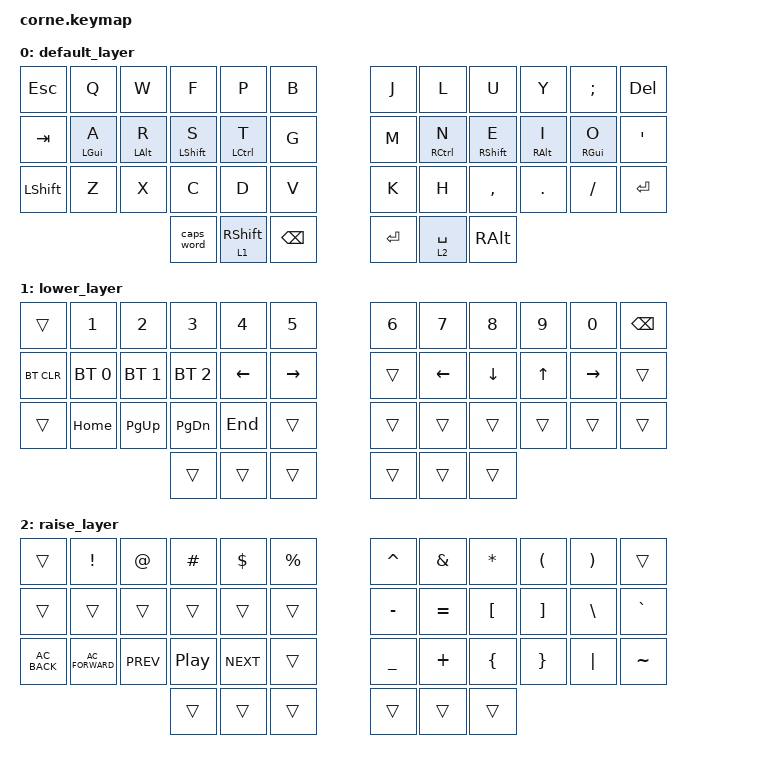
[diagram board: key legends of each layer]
/*
 * Copyright (c) 2020 The ZMK Contributors
 *
 * SPDX-License-Identifier: MIT
 */

#include <behaviors.dtsi>
#include <dt-bindings/zmk/keys.h>
#include <dt-bindings/zmk/bt.h>
#include <dt-bindings/zmk/behaviors.h>

// homerow tab mod from https://zmk.dev/docs/keymaps/behaviors/hold-tap?examples=autoshift#custom-hold-tap-examples
// trigger key positions generated by chat j'ai pété, not sure if this is correct

// I'm not convinced that this balanced option is really needed
        // hms: home_row_mod_left_shift {
        //     compatible = "zmk,behavior-hold-tap";
        //     #binding-cells = <2>;
        //     flavor = "balanced";
        //     require-prior-idle-ms = <140>;
        //     tapping-term-ms = <200>;
        //     quick-tap-ms = <150>;
        //     bindings = <&kp>, <&kp>;
        //     hold-trigger-key-positions = < 6 7 8 9 10 11 18 19 20 21 22 23 30 31 32 33 34 35 39 40 41>; // List of keys on the right side of the keyboard
        //     hold-trigger-on-release;
        // };
/ {
    behaviors {
        hml: home_row_mod_left {
            compatible = "zmk,behavior-hold-tap";
            #binding-cells = <2>;
            flavor = "tap-preferred";
            require-prior-idle-ms = <140>;
            tapping-term-ms = <200>;
            quick-tap-ms = <150>;
            bindings = <&kp>, <&kp>;
            hold-trigger-key-positions = < 6 7 8 9 10 11 18 19 20 21 22 23 30 31 32 33 34 35 39 40 41>; // List of keys on the right side of the keyboard
            hold-trigger-on-release;
        };
        hmr: home_row_mod_right {
            compatible = "zmk,behavior-hold-tap";
            #binding-cells = <2>;
            flavor = "tap-preferred";
            require-prior-idle-ms = <140>;
            tapping-term-ms = <200>;
            quick-tap-ms = <150>;
            bindings = <&kp>, <&kp>;
            hold-trigger-key-positions = < 0 1 2 3 4 5 12 13 14 15 16 17 24 25 26 27 28 29 36 37 38 >; // List of keys on the left side of the keyboard
            hold-trigger-on-release;
        };
	lt: layer_tap {
            compatible = "zmk,behavior-hold-tap";
            #binding-cells = <2>;
            flavor = "tap-preferred";
            tapping-term-ms = <150>;
            bindings = <&mo>, <&kp>;
            display-name = "Layer-Tap";
        };
	lt_sk: layer_tap_sticky_key {
            compatible = "zmk,behavior-hold-tap";
            #binding-cells = <2>;
            flavor = "tap-preferred";
            tapping-term-ms = <150>;
            bindings = <&mo>, <&sk>;
            display-name = "Layer-Tap-SK";
        };
    };
};

/ {
        keymap {
                compatible = "zmk,keymap";

                default_layer {
// -----------------------------------------------------------------------------------------
// |  TAB |  Q  |  W  |  F  |  P  |  B  |   |  J  |  L   |  U  |  Y  |  ;  | BSPC |
// | CTRL |  A  |  R  |  S  |  T  |  G  |   |  M  |  N   |  E  |  I  |  O  |  '   |
// | SHFT |  Z  |  X  |  C  |  D  |  V  |   |  K  |  H   |  ,  |  .  |  /  | ESC  |
//                    | GUI | LWR | SPC |   | ENT | RSE  | ALT |

bindings = <
   &kp ESC   &kp Q &kp W &kp F &kp P &kp B   &kp J &kp L  &kp U     &kp Y   &kp SEMI &kp DEL
   &kp TAB &hml LGUI A &hml LALT R &hml LSHIFT S &hml LCTRL T &kp G   &kp M &hmr RCTRL N  &hmr RSHIFT E  &hml RALT I   &hmr RGUI O    &kp SQT
   &kp LSHFT &kp Z &kp X &kp C &kp D &kp V   &kp K &kp H  &kp COMMA &kp DOT &kp FSLH &kp RET
                   &caps_word &lt_sk 1 RSHIFT &kp BSPC      &kp RET &lt 2 SPACE  &kp RALT
>;

                };
                                lower_layer {
// -----------------------------------------------------------------------------------------
// |  TAB |  1  |  2  |  3  |  4  |  5  |   |  6  |  7  |  8  |  9  |  0  | BSPC |
// | BTCLR| BT1 | BT2 | BT3 | BT4 | BT5 |   | LFT | DWN |  UP | RGT |     |      |
// | SHFT |     |     |     |     |     |   |     |     |     |     |     |      |
//                    | GUI |     | SPC |   | ENT |     | ALT |
                        bindings = <
   &trans    &kp N1       &kp N2       &kp N3       &kp N4       &kp N5         &kp N6   &kp N7   &kp N8   &kp N9 &kp N0    &kp BSPC
   &bt BT_CLR &bt BT_SEL 0 &bt BT_SEL 1 &bt BT_SEL 2 &kp LEFT &kp RIGHT   &trans   &kp LEFT &kp DOWN &kp UP &kp RIGHT &trans 
   &trans     &kp HOME &kp PG_UP &kp PG_DN &kp END &trans         &trans   &trans   &trans   &trans &trans    &trans
                                    &trans     &trans       &trans      &trans  &trans   &trans
                        >;
                };

                raise_layer {
// -----------------------------------------------------------------------------------------
// |  TAB |  !  |  @  |  #  |  $  |  %  |   |  ^  |  &  |  *  |  (  |  )  | BSPC |
// | CTRL |     |     |     |     |     |   |  -  |  =  |  [  |  ]  |  \  |  `   |
// | SHFT |     |     |     |     |     |   |  _  |  +  |  {  |  }  | "|" |  ~   |
//                    | GUI |     | SPC |   | ENT |     | ALT |
                        bindings = <
   &trans &kp EXCL &kp AT   &kp HASH &kp DLLR  &kp PRCNT     &kp CARET &kp AMPS  &kp ASTRK &kp LPAR &kp RPAR &trans
   &trans &trans &trans &trans   &trans &trans 	     &kp MINUS &kp EQUAL &kp LBKT  &kp RBKT &kp BSLH &kp GRAVE
   &kp C_AC_BACK &kp C_AC_FORWARD  &kp C_PREV   &kp C_PP   &kp C_NEXT    &trans        &kp UNDER &kp PLUS  &kp LBRC  &kp RBRC &kp PIPE &kp TILDE
                            &trans   &trans    &trans        &trans    &trans    &trans
                        >;
                };

        };
};

